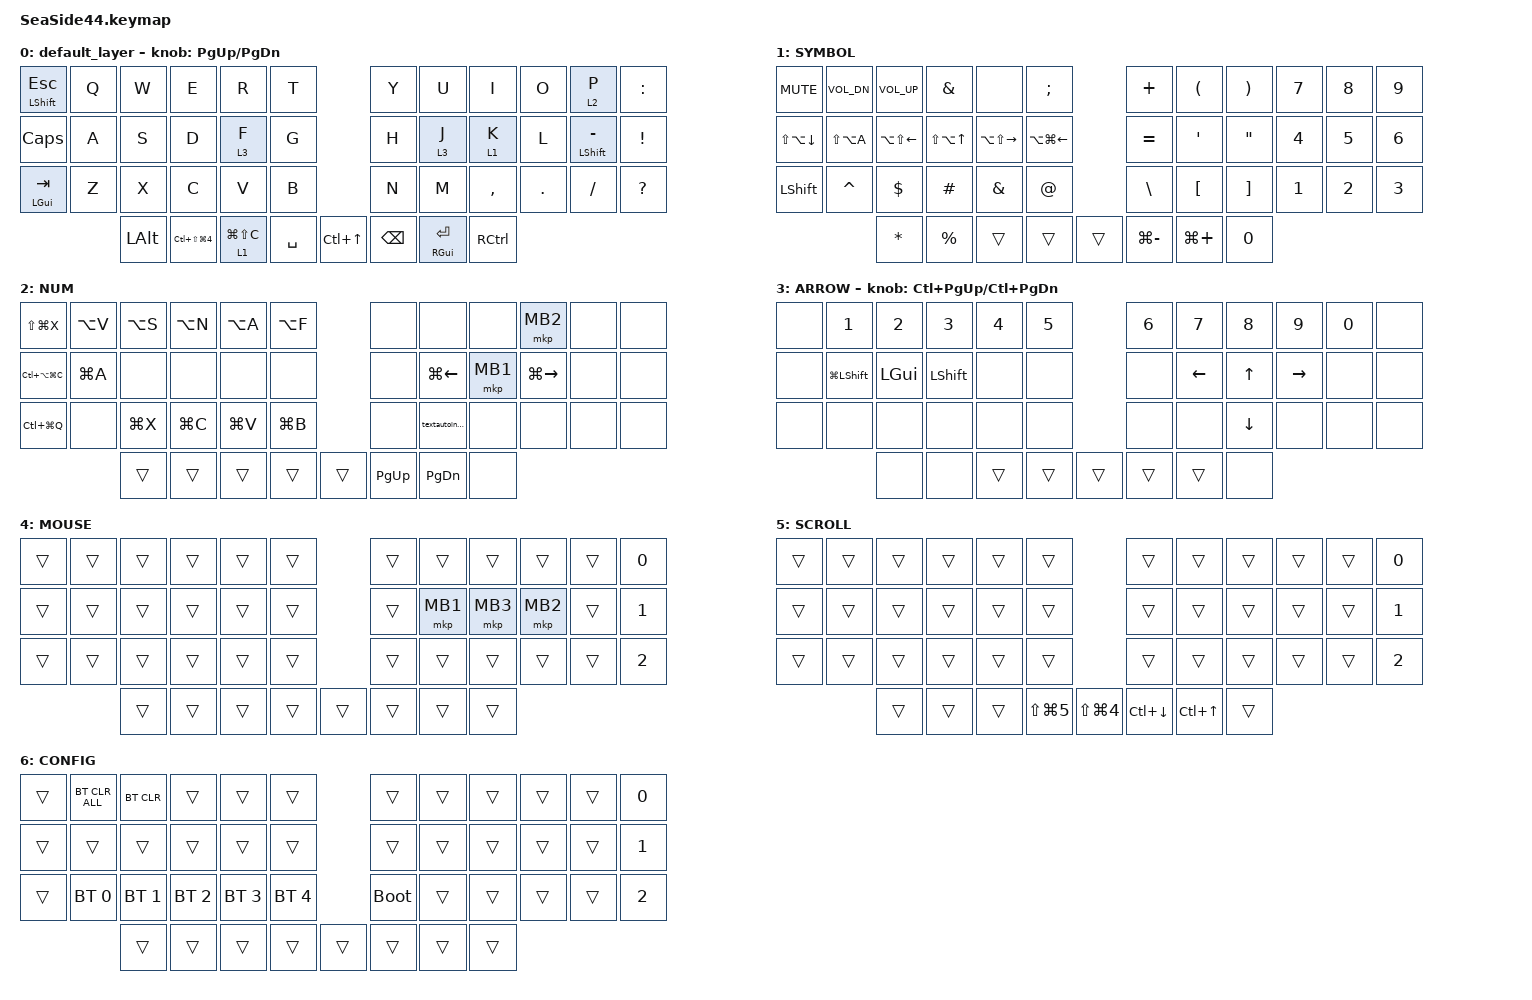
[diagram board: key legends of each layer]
#include <behaviors.dtsi>
#include <dt-bindings/zmk/bt.h>
#include <dt-bindings/zmk/keys.h>
#include <dt-bindings/zmk/pointing.h>

#define MOUSE 4
#define SCROLL 5
#define NUM 6

&mt {
    flavor = "balanced";
    quick-tap-ms = <300>;
};

&lt {
    flavor = "balanced";
    quick-tap-ms = <300>;
};

/ {
    combos { compatible = "zmk,combos"; };

    macros {
        to_layer_0: to_layer_0 {
            compatible = "zmk,behavior-macro-one-param";
            #binding-cells = <1>;
            bindings = <&to 0 &macro_param_1to1 &kp MACRO_PLACEHOLDER>;
            label = "TO_LAYER_0";
        };

        textautoinput: textautoinput {
            compatible = "zmk,behavior-macro";
            #binding-cells = <0>;
            bindings = <&none &kp LS(I) &kp MINUS &kp L &kp O &kp V &kp E &kp MINUS &kp M &kp A &kp R &kp U &kp P &kp O &kp R &kp O &kp MINUS &kp N9 &kp N2>;
            label = "TEXTAUTOINPUT";
        };
    };

    behaviors {
        lt_to_layer_0: lt_to_layer_0 {
            compatible = "zmk,behavior-hold-tap";
            label = "LAYER_TAP_TO_0";
            bindings = <&mo>, <&to_layer_0>;

            #binding-cells = <2>;
            tapping-term-ms = <200>;
        };
    };

    keymap {
        compatible = "zmk,keymap";

        default_layer {
            bindings = <
&mt LEFT_SHIFT ESCAPE  &kp Q  &kp W         &kp E                     &kp R            &kp T                                         &kp Y                 &kp U    &kp I              &kp O       &lt 2 P               &kp COLON
&kp CAPS               &kp A  &kp S         &kp D                     &lt 3 F          &kp G                                         &kp H                 &lt 3 J  &lt 1 K            &kp L       &mt LEFT_SHIFT MINUS  &kp EXCL
&mt LEFT_GUI TAB       &kp Z  &kp X         &kp C                     &kp V            &kp B                                         &kp N                 &kp M    &kp COMMA          &kp PERIOD  &kp SLASH             &kp QUESTION
                              &kp LEFT_ALT  &kp LC(LS(LG(NUMBER_4)))  &lt 1 LG(LS(C))  &kp SPACE  &kp LC(UP_ARROW)    &kp BACKSPACE  &mt RIGHT_GUI RETURN           &kp RIGHT_CONTROL
            >;

            sensor-bindings = <&inc_dec_kp PG_UP PAGE_DOWN>;
        };

        SYMBOL {
            bindings = <
&kp K_MUTE        &kp C_VOL_DN   &kp C_VOLUME_UP   &kp AMPERSAND         &none              &kp SEMI                                   &kp PLUS       &kp LEFT_PARENTHESIS  &kp RIGHT_PARENTHESIS  &kp N7        &kp N8        &kp N9
&kp LS(LA(DOWN))  &kp LS(LA(A))  &kp LA(LS(LEFT))  &kp LS(LA(UP_ARROW))  &kp LA(LS(RIGHT))  &kp LA(LG(LEFT))                           &kp EQUAL      &kp SINGLE_QUOTE      &kp DOUBLE_QUOTES      &kp NUMBER_4  &kp NUMBER_5  &kp NUMBER_6
&kp LEFT_SHIFT    &kp CARET      &kp DOLLAR        &kp HASH              &kp AMPERSAND      &kp AT                                     &kp BACKSLASH  &kp LBKT              &kp RBKT               &kp NUMBER_1  &kp NUMBER_2  &kp NUMBER_3
                                 &kp STAR          &kp PERCENT           &trans             &trans            &trans    &kp LG(MINUS)  &kp LG(PLUS)                         &kp N0
            >;
        };

        NUM {
            bindings = <
&kp LS(LG(X))      &kp LA(V)  &kp LA(S)  &kp LA(N)  &kp LA(A)  &kp LA(F)                         &none          &none           &none     &mkp MB2       &none  &none
&kp LC(LA(LG(C)))  &kp LG(A)  &none      &none      &none      &none                             &none          &kp LG(LEFT)    &mkp MB1  &kp LG(RIGHT)  &none  &none
&kp LC(LG(Q))      &none      &kp LG(X)  &kp LG(C)  &kp LG(V)  &kp LG(B)                         &none          &textautoinput  &none     &none          &none  &none
                              &trans     &trans     &trans     &trans     &trans    &kp PAGE_UP  &kp PAGE_DOWN                  &none
            >;
        };

        ARROW {
            bindings = <
&none  &kp NUMBER_1        &kp NUMBER_2  &kp NUMBER_3    &kp NUMBER_4  &kp N5                    &kp NUMBER_6  &kp N7          &kp N8          &kp N9           &kp N0  &none
&none  &kp LG(LEFT_SHIFT)  &kp LEFT_GUI  &kp LEFT_SHIFT  &none         &none                     &none         &kp LEFT_ARROW  &kp UP_ARROW    &kp RIGHT_ARROW  &none   &none
&none  &none               &none         &none           &none         &none                     &none         &none           &kp DOWN_ARROW  &none            &none   &none
                           &none         &none           &trans        &trans  &trans    &trans  &trans                        &none
            >;

            sensor-bindings = <&inc_dec_kp LC(PAGE_UP) LC(PAGE_DOWN)>;
        };

        MOUSE {
            bindings = <
&trans  &trans  &trans  &trans  &trans  &trans                    &trans  &trans    &trans    &trans    &trans  &kp N0
&trans  &trans  &trans  &trans  &trans  &trans                    &trans  &mkp MB1  &mkp MB3  &mkp MB2  &trans  &kp N1
&trans  &trans  &trans  &trans  &trans  &trans                    &trans  &trans    &trans    &trans    &trans  &kp N2
                &trans  &trans  &trans  &trans  &trans    &trans  &trans            &trans
            >;
        };

        SCROLL {
            bindings = <
&trans  &trans  &trans  &trans  &trans  &trans                                          &trans            &trans  &trans  &trans  &trans  &kp N0
&trans  &trans  &trans  &trans  &trans  &trans                                          &trans            &trans  &trans  &trans  &trans  &kp N1
&trans  &trans  &trans  &trans  &trans  &trans                                          &trans            &trans  &trans  &trans  &trans  &kp N2
                &trans  &trans  &trans  &kp LS(LG(N5))  &kp LS(LG(N4))    &kp LC(DOWN)  &kp LC(UP_ARROW)          &trans
            >;
        };

        CONFIG {
            bindings = <
&trans  &bt BT_CLR_ALL  &bt BT_CLR    &trans        &trans        &trans                          &trans       &trans  &trans  &trans  &trans  &kp N0
&trans  &trans          &trans        &trans        &trans        &trans                          &trans       &trans  &trans  &trans  &trans  &kp N1
&trans  &bt BT_SEL 0    &bt BT_SEL 1  &bt BT_SEL 2  &bt BT_SEL 3  &bt BT_SEL 4                    &bootloader  &trans  &trans  &trans  &trans  &kp N2
                        &trans        &trans        &trans        &trans        &trans    &trans  &trans               &trans
            >;
        };
    };
};
